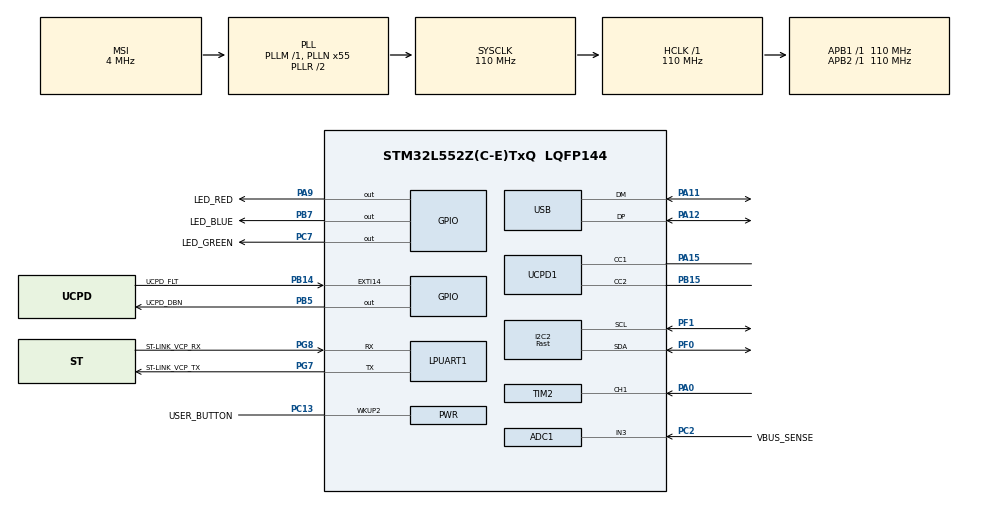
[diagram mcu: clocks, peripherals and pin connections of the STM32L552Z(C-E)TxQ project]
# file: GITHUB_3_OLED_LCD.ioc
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ADC1.Channel-0\#ChannelRegularConversion=ADC_CHANNEL_3
ADC1.NbrOfConversionFlag=1
ADC1.OffsetNumber-0\#ChannelRegularConversion=ADC_OFFSET_NONE
ADC1.Rank-0\#ChannelRegularConversion=1
ADC1.SamplingTime-0\#ChannelRegularConversion=ADC_SAMPLETIME_2CYCLES_5
ADC1.master=1
I2C2.I2C_Speed_Mode=I2C_Fast
I2C2.Timing=0x00A03AC8
Mcu.Family=STM32L5
Mcu.Name=STM32L552Z(C-E)TxQ
Mcu.Package=LQFP144
Mcu.TrustZone=disable
NVIC.PriorityGroup=NVIC_PRIORITYGROUP_3
PA0.Signal=S_TIM2_CH1
PA11.Mode=Device
PA11.Signal=USB_DM
PA12.Mode=Device
PA12.Signal=USB_DP
PA13\ (JTMS/SWDIO).Mode=Trace_Asynchronous_SW
PA13\ (JTMS/SWDIO).Signal=DEBUG_JTMS-SWDIO
PA14\ (JTCK/SWCLK).Mode=Trace_Asynchronous_SW
PA14\ (JTCK/SWCLK).Signal=DEBUG_JTCK-SWCLK
PA15\ (JTDI).Mode=Source_AllSignals
PA15\ (JTDI).Signal=UCPD1_CC1
PA9.GPIO_Label=LED_RED
PA9.Signal=GPIO_Output
PB14.GPIO_Label=UCPD_FLT
PB14.Signal=GPXTI14
PB15.Mode=Source_AllSignals
PB15.Signal=UCPD1_CC2
PB3\ (JTDO/TRACESWO).Mode=Trace_Asynchronous_SW
PB3\ (JTDO/TRACESWO).Signal=DEBUG_JTDO-SWO
PB5.GPIO_Label=UCPD_DBN
PB5.Signal=GPIO_Output
PB7.GPIO_Label=LED_BLUE
PB7.Signal=GPIO_Output
PC13.GPIO_Label=USER_BUTTON
PC13.Mode=WakeUp1
PC13.Signal=PWR_WKUP2
PC14-OSC32_IN\ (PC14).Mode=LSE-External-Oscillator
PC14-OSC32_IN\ (PC14).Signal=RCC_OSC32_IN
PC15-OSC32_OUT\ (PC15).Mode=LSE-External-Oscillator
PC15-OSC32_OUT\ (PC15).Signal=RCC_OSC32_OUT
PC2.GPIO_Label=VBUS_SENSE
PC2.Signal=ADCx_IN3
PC7.GPIO_Label=LED_GREEN
PC7.Signal=GPIO_Output
PF0.Mode=I2C
PF0.Signal=I2C2_SDA
PF1.Mode=I2C
PF1.Signal=I2C2_SCL
PG7.GPIO_Label=ST-LINK_VCP_TX
PG7.Mode=Asynchronous
PG7.Signal=LPUART1_TX
PG8.GPIO_Label=ST-LINK_VCP_RX
PG8.Mode=Asynchronous
PG8.Signal=LPUART1_RX
ProjectManager.HeapSize=0x200
ProjectManager.StackSize=0x400
ProjectManager.TargetToolchain=STM32CubeIDE
RCC.ADCCLockSelection=RCC_ADCCLKSOURCE_SYSCLK
RCC.ADCFreq_Value=110000000
RCC.AHBFreq_Value=110000000
RCC.APB1Freq_Value=110000000
RCC.APB1TimFreq_Value=110000000
RCC.APB2Freq_Value=110000000
RCC.APB2TimFreq_Value=110000000
RCC.CK48CLockSelection=RCC_USBCLKSOURCE_HSI48
RCC.CortexFreq_Value=110000000
RCC.HCLKFreq_Value=110000000
RCC.HSE_VALUE=8000000
RCC.HSI48_VALUE=48000000
RCC.HSI_VALUE=16000000
RCC.MSI_VALUE=4000000
RCC.PLLN=55
RCC.PLLSAI1N=24
RCC.RTCClockSelection=RCC_RTCCLKSOURCE_LSE
RCC.SYSCLKFreq_VALUE=110000000
RCC.SYSCLKSource=RCC_SYSCLKSOURCE_PLLCLK
RCC.USBFreq_Value=48000000
RCC.VCOOutputFreq_Value=220000000
SH.ADCx_IN3.0=ADC1_IN3,IN3-Single-Ended
SH.S_TIM2_CH1.0=TIM2_CH1,TriggerSource_TI1FP1
VP_PWR_VS_DBSignals.Mode=DisableDeadBatterySignals
VP_RTC_VS_RTC_Activate.Mode=RTC_Enabled
VP_TIM2_VS_ControllerModeClock.Mode=Clock Mode
board=NUCLEO-L552ZE-Q

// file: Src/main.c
/* USER CODE BEGIN Header */
/**
  ******************************************************************************
  * @file           : main.c
  * @brief          : Main program body
  ******************************************************************************
  * @attention
  *
  * Copyright (c) 2022 STMicroelectronics.
  * All rights reserved.
  *
  * This software is licensed under terms that can be found in the LICENSE file
  * in the root directory of this software component.
  * If no LICENSE file comes with this software, it is provided AS-IS.
  *
  ******************************************************************************
  */
/* USER CODE END Header */
#include "main.h"

/* USER CODE BEGIN Includes */

#include "bitmaps.h"
#include "cocacola.h"
#include "fonts.h"
#include "ssd1306.h"
#include <stdio.h>
#include <stdlib.h>
#include <time.h>
#include  "gifs.h"

/* USER CODE END Includes */

ADC_HandleTypeDef hadc1;

I2C_HandleTypeDef hi2c2;

UART_HandleTypeDef hlpuart1;

RTC_HandleTypeDef hrtc;

TIM_HandleTypeDef htim2;

PCD_HandleTypeDef hpcd_USB_FS;

void SystemClock_Config(void);
static void MX_GPIO_Init(void);
static void MX_ADC1_Init(void);
static void MX_LPUART1_UART_Init(void);
static void MX_RTC_Init(void);
static void MX_UCPD1_Init(void);
static void MX_USB_PCD_Init(void);
static void MX_I2C2_Init(void);
static void MX_TIM2_Init(void);

/* USER CODE BEGIN 0 */

uint32_t count2;

uint32_t millis;

uint32_t y = 39;

uint32_t freq_array[128];

uint32_t freq_prev;

/* USER CODE END 0 */

int main(void)
{

  /* MCU Configuration--------------------------------------------------------*/

  /* Reset of all peripherals, Initializes the Flash interface and the Systick. */
  HAL_Init();

  /* Configure the system clock */
  SystemClock_Config();

  /* Initialize all configured peripherals */
  MX_GPIO_Init();
  MX_ADC1_Init();
  MX_LPUART1_UART_Init();
  MX_RTC_Init();
  MX_UCPD1_Init();
  MX_USB_PCD_Init();
  MX_I2C2_Init();
  MX_TIM2_Init();
  /* USER CODE BEGIN 2 */

  HAL_TIM_Base_Start(&htim2);

  SSD1306_Init();

  /* USER CODE END 2 */

  /* Infinite loop */
  /* USER CODE BEGIN WHILE */
  while (1)
  {

	    // Execution time will be assigned into "millis" variable after debug as a millisecond
	    millis = HAL_GetTick();

	    // This function is used for to pull signals that coming from PA0 ( TIM2_CH1 )
	    count2 = __HAL_TIM_GetCounter(&htim2);

		/* ***************************************** */

		// Battery Icon - Image
		SSD1306_DrawBitmap(96, 0, battery, 32, 13, 1);
		SSD1306_UpdateScreen();

		/* ***************************************** */

		// Graphic Icon - Image
		SSD1306_DrawBitmap(0, 20, graphic, 64, 46, 1);
		SSD1306_UpdateScreen();

		/* ***************************************** */
		SSD1306_GotoXY (93,20);
		SSD1306_Puts ("FREQ", &Font_7x10, 1);
		SSD1306_UpdateScreen();

		SSD1306_GotoXY (97,30);
		SSD1306_Puts ("CPS", &Font_7x10, 1);
		SSD1306_UpdateScreen();

		SSD1306_GotoXY (93,40);
		SSD1306_Puts ("10000", &Font_7x10, 1);
		SSD1306_UpdateScreen();

		/* ***************************************** */

		srand(time(0));

		for(int g = 6; g < 64; g++)
		{
			freq_array[g] = (rand() % (2000 -(-2000) + 1)) + (-2000);
		}

		/* ***************************************** */

		for(int x = 6, p = 1; x < 64 ; x++, p++ )
		{
			if(freq_array[x] > freq_prev)
			{
				y = y - 1 ;

				SSD1306_DrawBitmap(x,y,HIGH,1,1,1);
				SSD1306_UpdateScreen();
			}

			else if(freq_array[x] < freq_prev)
			{
				y = y + 1 ;
				SSD1306_DrawBitmap(x,y,HIGH,1,1,1);
				SSD1306_UpdateScreen();
			}

			else
			{
				SSD1306_DrawBitmap(x,y,HIGH,1,1,1);
				SSD1306_UpdateScreen();
			}

			if(x==63)
			{
				y = 39;
				SSD1306_Clear();
			}

			freq_prev = freq_array[x];
			SSD1306_UpdateScreen();
		}

		/* ***************************************** */

		// Elapsed time on display
		SSD1306_Println("time:%i",millis);

    /* USER CODE END WHILE */

  }
}

void SystemClock_Config(void)
{
  RCC_OscInitTypeDef RCC_OscInitStruct = {0};
  RCC_ClkInitTypeDef RCC_ClkInitStruct = {0};

  /** Configure the main internal regulator output voltage
  */
  if (HAL_PWREx_ControlVoltageScaling(PWR_REGULATOR_VOLTAGE_SCALE0) != HAL_OK)
  {
    Error_Handler();
  }

  /** Configure LSE Drive Capability
  */
  HAL_PWR_EnableBkUpAccess();
  __HAL_RCC_LSEDRIVE_CONFIG(RCC_LSEDRIVE_LOW);

  /** Initializes the RCC Oscillators according to the specified parameters
  * in the RCC_OscInitTypeDef structure.
  */
  RCC_OscInitStruct.OscillatorType = RCC_OSCILLATORTYPE_HSI48|RCC_OSCILLATORTYPE_LSE
                              |RCC_OSCILLATORTYPE_MSI;
  RCC_OscInitStruct.LSEState = RCC_LSE_ON;
  RCC_OscInitStruct.HSI48State = RCC_HSI48_ON;
  RCC_OscInitStruct.MSIState = RCC_MSI_ON;
  RCC_OscInitStruct.MSICalibrationValue = RCC_MSICALIBRATION_DEFAULT;
  RCC_OscInitStruct.MSIClockRange = RCC_MSIRANGE_6;
  RCC_OscInitStruct.PLL.PLLState = RCC_PLL_ON;
  RCC_OscInitStruct.PLL.PLLSource = RCC_PLLSOURCE_MSI;
  RCC_OscInitStruct.PLL.PLLM = 1;
  RCC_OscInitStruct.PLL.PLLN = 55;
  RCC_OscInitStruct.PLL.PLLP = RCC_PLLP_DIV7;
  RCC_OscInitStruct.PLL.PLLQ = RCC_PLLQ_DIV2;
  RCC_OscInitStruct.PLL.PLLR = RCC_PLLR_DIV2;
  if (HAL_RCC_OscConfig(&RCC_OscInitStruct) != HAL_OK)
  {
    Error_Handler();
  }

  /** Initializes the CPU, AHB and APB buses clocks
  */
  RCC_ClkInitStruct.ClockType = RCC_CLOCKTYPE_HCLK|RCC_CLOCKTYPE_SYSCLK
                              |RCC_CLOCKTYPE_PCLK1|RCC_CLOCKTYPE_PCLK2;
  RCC_ClkInitStruct.SYSCLKSource = RCC_SYSCLKSOURCE_PLLCLK;
  RCC_ClkInitStruct.AHBCLKDivider = RCC_SYSCLK_DIV1;
  RCC_ClkInitStruct.APB1CLKDivider = RCC_HCLK_DIV1;
  RCC_ClkInitStruct.APB2CLKDivider = RCC_HCLK_DIV1;

  if (HAL_RCC_ClockConfig(&RCC_ClkInitStruct, FLASH_LATENCY_5) != HAL_OK)
  {
    Error_Handler();
  }
}

static void MX_ADC1_Init(void)
{

  ADC_MultiModeTypeDef multimode = {0};
  ADC_ChannelConfTypeDef sConfig = {0};

  /** Common config
  */
  hadc1.Instance = ADC1;
  hadc1.Init.ClockPrescaler = ADC_CLOCK_ASYNC_DIV1;
  hadc1.Init.Resolution = ADC_RESOLUTION_12B;
  hadc1.Init.DataAlign = ADC_DATAALIGN_RIGHT;
  hadc1.Init.ScanConvMode = ADC_SCAN_DISABLE;
  hadc1.Init.EOCSelection = ADC_EOC_SINGLE_CONV;
  hadc1.Init.LowPowerAutoWait = DISABLE;
  hadc1.Init.ContinuousConvMode = DISABLE;
  hadc1.Init.NbrOfConversion = 1;
  hadc1.Init.DiscontinuousConvMode = DISABLE;
  hadc1.Init.ExternalTrigConv = ADC_SOFTWARE_START;
  hadc1.Init.ExternalTrigConvEdge = ADC_EXTERNALTRIGCONVEDGE_NONE;
  hadc1.Init.DMAContinuousRequests = DISABLE;
  hadc1.Init.Overrun = ADC_OVR_DATA_PRESERVED;
  hadc1.Init.OversamplingMode = DISABLE;
  if (HAL_ADC_Init(&hadc1) != HAL_OK)
  {
    Error_Handler();
  }

  /** Configure the ADC multi-mode
  */
  multimode.Mode = ADC_MODE_INDEPENDENT;
  if (HAL_ADCEx_MultiModeConfigChannel(&hadc1, &multimode) != HAL_OK)
  {
    Error_Handler();
  }

  /** Configure Regular Channel
  */
  sConfig.Channel = ADC_CHANNEL_3;
  sConfig.Rank = ADC_REGULAR_RANK_1;
  sConfig.SamplingTime = ADC_SAMPLETIME_2CYCLES_5;
  sConfig.SingleDiff = ADC_SINGLE_ENDED;
  sConfig.OffsetNumber = ADC_OFFSET_NONE;
  sConfig.Offset = 0;
  if (HAL_ADC_ConfigChannel(&hadc1, &sConfig) != HAL_OK)
  {
    Error_Handler();
  }

}

static void MX_I2C2_Init(void)
{

  hi2c2.Instance = I2C2;
  hi2c2.Init.Timing = 0x00A03AC8;
  hi2c2.Init.OwnAddress1 = 0;
  hi2c2.Init.AddressingMode = I2C_ADDRESSINGMODE_7BIT;
  hi2c2.Init.DualAddressMode = I2C_DUALADDRESS_DISABLE;
  hi2c2.Init.OwnAddress2 = 0;
  hi2c2.Init.OwnAddress2Masks = I2C_OA2_NOMASK;
  hi2c2.Init.GeneralCallMode = I2C_GENERALCALL_DISABLE;
  hi2c2.Init.NoStretchMode = I2C_NOSTRETCH_DISABLE;
  if (HAL_I2C_Init(&hi2c2) != HAL_OK)
  {
    Error_Handler();
  }

  /** Configure Analogue filter
  */
  if (HAL_I2CEx_ConfigAnalogFilter(&hi2c2, I2C_ANALOGFILTER_ENABLE) != HAL_OK)
  {
    Error_Handler();
  }

  /** Configure Digital filter
  */
  if (HAL_I2CEx_ConfigDigitalFilter(&hi2c2, 0) != HAL_OK)
  {
    Error_Handler();
  }

}

static void MX_LPUART1_UART_Init(void)
{

  hlpuart1.Instance = LPUART1;
  hlpuart1.Init.BaudRate = 209700;
  hlpuart1.Init.WordLength = UART_WORDLENGTH_8B;
  hlpuart1.Init.StopBits = UART_STOPBITS_1;
  hlpuart1.Init.Parity = UART_PARITY_NONE;
  hlpuart1.Init.Mode = UART_MODE_TX_RX;
  hlpuart1.Init.HwFlowCtl = UART_HWCONTROL_NONE;
  hlpuart1.Init.OneBitSampling = UART_ONE_BIT_SAMPLE_DISABLE;
  hlpuart1.Init.ClockPrescaler = UART_PRESCALER_DIV1;
  hlpuart1.AdvancedInit.AdvFeatureInit = UART_ADVFEATURE_NO_INIT;
  hlpuart1.FifoMode = UART_FIFOMODE_DISABLE;
  if (HAL_UART_Init(&hlpuart1) != HAL_OK)
  {
    Error_Handler();
  }
  if (HAL_UARTEx_SetTxFifoThreshold(&hlpuart1, UART_TXFIFO_THRESHOLD_1_8) != HAL_OK)
  {
    Error_Handler();
  }
  if (HAL_UARTEx_SetRxFifoThreshold(&hlpuart1, UART_RXFIFO_THRESHOLD_1_8) != HAL_OK)
  {
    Error_Handler();
  }
  if (HAL_UARTEx_DisableFifoMode(&hlpuart1) != HAL_OK)
  {
    Error_Handler();
  }

}

static void MX_RTC_Init(void)
{

  RTC_PrivilegeStateTypeDef privilegeState = {0};

  /** Initialize RTC Only
  */
  hrtc.Instance = RTC;
  hrtc.Init.HourFormat = RTC_HOURFORMAT_24;
  hrtc.Init.AsynchPrediv = 127;
  hrtc.Init.SynchPrediv = 255;
  hrtc.Init.OutPut = RTC_OUTPUT_DISABLE;
  hrtc.Init.OutPutRemap = RTC_OUTPUT_REMAP_NONE;
  hrtc.Init.OutPutPolarity = RTC_OUTPUT_POLARITY_HIGH;
  hrtc.Init.OutPutType = RTC_OUTPUT_TYPE_OPENDRAIN;
  hrtc.Init.OutPutPullUp = RTC_OUTPUT_PULLUP_NONE;
  if (HAL_RTC_Init(&hrtc) != HAL_OK)
  {
    Error_Handler();
  }
  privilegeState.rtcPrivilegeFull = RTC_PRIVILEGE_FULL_NO;
  privilegeState.backupRegisterPrivZone = RTC_PRIVILEGE_BKUP_ZONE_NONE;
  privilegeState.backupRegisterStartZone2 = RTC_BKP_DR0;
  privilegeState.backupRegisterStartZone3 = RTC_BKP_DR0;
  if (HAL_RTCEx_PrivilegeModeSet(&hrtc, &privilegeState) != HAL_OK)
  {
    Error_Handler();
  }

}

static void MX_TIM2_Init(void)
{

  TIM_SlaveConfigTypeDef sSlaveConfig = {0};
  TIM_MasterConfigTypeDef sMasterConfig = {0};

  htim2.Instance = TIM2;
  htim2.Init.Prescaler = 0;
  htim2.Init.CounterMode = TIM_COUNTERMODE_UP;
  htim2.Init.Period = 4294967295;
  htim2.Init.ClockDivision = TIM_CLOCKDIVISION_DIV1;
  htim2.Init.AutoReloadPreload = TIM_AUTORELOAD_PRELOAD_DISABLE;
  if (HAL_TIM_Base_Init(&htim2) != HAL_OK)
  {
    Error_Handler();
  }
  sSlaveConfig.SlaveMode = TIM_SLAVEMODE_EXTERNAL1;
  sSlaveConfig.InputTrigger = TIM_TS_TI1FP1;
  sSlaveConfig.TriggerPolarity = TIM_TRIGGERPOLARITY_RISING;
  sSlaveConfig.TriggerFilter = 0;
  if (HAL_TIM_SlaveConfigSynchro(&htim2, &sSlaveConfig) != HAL_OK)
  {
    Error_Handler();
  }
  sMasterConfig.MasterOutputTrigger = TIM_TRGO_RESET;
  sMasterConfig.MasterSlaveMode = TIM_MASTERSLAVEMODE_DISABLE;
  if (HAL_TIMEx_MasterConfigSynchronization(&htim2, &sMasterConfig) != HAL_OK)
  {
    Error_Handler();
  }

}

static void MX_UCPD1_Init(void)
{

  LL_GPIO_InitTypeDef GPIO_InitStruct = {0};

  /* Peripheral clock enable */
  LL_APB1_GRP2_EnableClock(LL_APB1_GRP2_PERIPH_UCPD1);

  LL_AHB2_GRP1_EnableClock(LL_AHB2_GRP1_PERIPH_GPIOB);
  LL_AHB2_GRP1_EnableClock(LL_AHB2_GRP1_PERIPH_GPIOA);
  /**UCPD1 GPIO Configuration
  PB15   ------> UCPD1_CC2
  PA15 (JTDI)   ------> UCPD1_CC1
  */
  GPIO_InitStruct.Pin = LL_GPIO_PIN_15;
  GPIO_InitStruct.Mode = LL_GPIO_MODE_ANALOG;
  GPIO_InitStruct.Pull = LL_GPIO_PULL_NO;
  LL_GPIO_Init(GPIOB, &GPIO_InitStruct);

  GPIO_InitStruct.Pin = LL_GPIO_PIN_15;
  GPIO_InitStruct.Mode = LL_GPIO_MODE_ANALOG;
  GPIO_InitStruct.Pull = LL_GPIO_PULL_NO;
  LL_GPIO_Init(GPIOA, &GPIO_InitStruct);

}

static void MX_USB_PCD_Init(void)
{

  hpcd_USB_FS.Instance = USB;
  hpcd_USB_FS.Init.dev_endpoints = 8;
  hpcd_USB_FS.Init.speed = PCD_SPEED_FULL;
  hpcd_USB_FS.Init.phy_itface = PCD_PHY_EMBEDDED;
  hpcd_USB_FS.Init.Sof_enable = DISABLE;
  hpcd_USB_FS.Init.low_power_enable = DISABLE;
  hpcd_USB_FS.Init.lpm_enable = DISABLE;
  hpcd_USB_FS.Init.battery_charging_enable = DISABLE;
  if (HAL_PCD_Init(&hpcd_USB_FS) != HAL_OK)
  {
    Error_Handler();
  }

}

static void MX_GPIO_Init(void)
{
  GPIO_InitTypeDef GPIO_InitStruct = {0};

  /* GPIO Ports Clock Enable */
  __HAL_RCC_GPIOC_CLK_ENABLE();
  __HAL_RCC_GPIOF_CLK_ENABLE();
  __HAL_RCC_GPIOA_CLK_ENABLE();
  __HAL_RCC_GPIOB_CLK_ENABLE();
  __HAL_RCC_GPIOG_CLK_ENABLE();
  HAL_PWREx_EnableVddIO2();

  /*Configure GPIO pin Output Level */
  HAL_GPIO_WritePin(LED_GREEN_GPIO_Port, LED_GREEN_Pin, GPIO_PIN_RESET);

  /*Configure GPIO pin Output Level */
  HAL_GPIO_WritePin(LED_RED_GPIO_Port, LED_RED_Pin, GPIO_PIN_RESET);

  /*Configure GPIO pin Output Level */
  HAL_GPIO_WritePin(GPIOB, UCPD_DBN_Pin|LED_BLUE_Pin, GPIO_PIN_RESET);

  /*Configure GPIO pin : UCPD_FLT_Pin */
  GPIO_InitStruct.Pin = UCPD_FLT_Pin;
  GPIO_InitStruct.Mode = GPIO_MODE_IT_RISING;
  GPIO_InitStruct.Pull = GPIO_NOPULL;
  HAL_GPIO_Init(UCPD_FLT_GPIO_Port, &GPIO_InitStruct);

  /*Configure GPIO pin : LED_GREEN_Pin */
  GPIO_InitStruct.Pin = LED_GREEN_Pin;
  GPIO_InitStruct.Mode = GPIO_MODE_OUTPUT_PP;
  GPIO_InitStruct.Pull = GPIO_NOPULL;
  GPIO_InitStruct.Speed = GPIO_SPEED_FREQ_LOW;
  HAL_GPIO_Init(LED_GREEN_GPIO_Port, &GPIO_InitStruct);

  /*Configure GPIO pin : LED_RED_Pin */
  GPIO_InitStruct.Pin = LED_RED_Pin;
  GPIO_InitStruct.Mode = GPIO_MODE_OUTPUT_PP;
  GPIO_InitStruct.Pull = GPIO_NOPULL;
  GPIO_InitStruct.Speed = GPIO_SPEED_FREQ_LOW;
  HAL_GPIO_Init(LED_RED_GPIO_Port, &GPIO_InitStruct);

  /*Configure GPIO pins : UCPD_DBN_Pin LED_BLUE_Pin */
  GPIO_InitStruct.Pin = UCPD_DBN_Pin|LED_BLUE_Pin;
  GPIO_InitStruct.Mode = GPIO_MODE_OUTPUT_PP;
  GPIO_InitStruct.Pull = GPIO_NOPULL;
  GPIO_InitStruct.Speed = GPIO_SPEED_FREQ_LOW;
  HAL_GPIO_Init(GPIOB, &GPIO_InitStruct);

}

void Error_Handler(void)
{
  __disable_irq();
  while (1)
  {
  }
}
